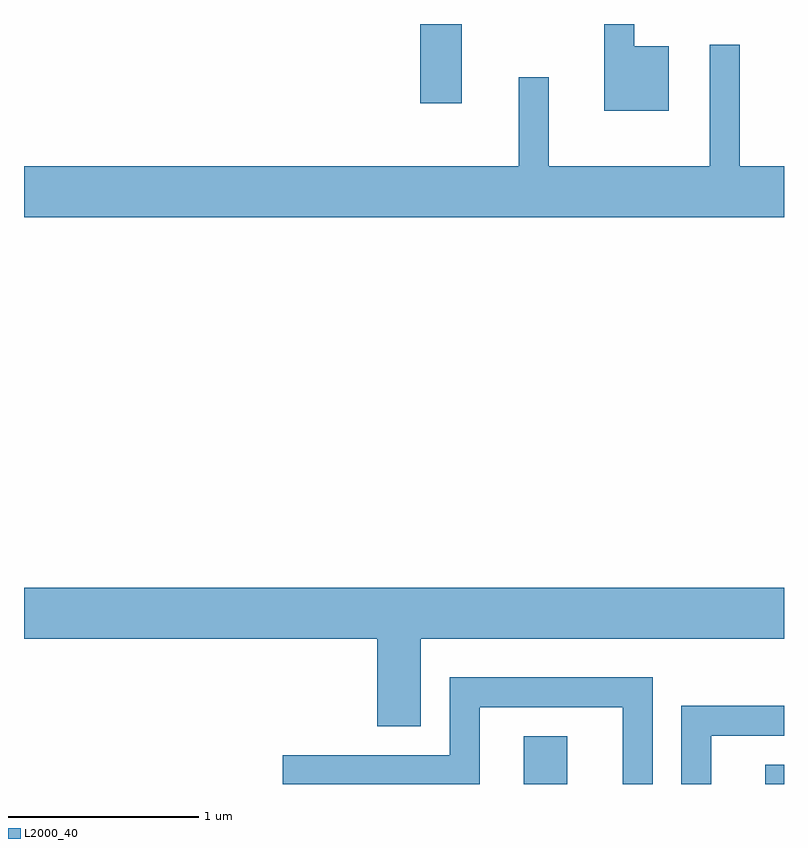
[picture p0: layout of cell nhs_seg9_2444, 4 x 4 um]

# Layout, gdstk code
import gdstk
lib = gdstk.Library(unit=1e-6, precision=1e-09)
def R(c, l, rs):  # rectangles x0, y0, x1, y1
    for r in rs: c.add(gdstk.rectangle(r[:2], r[2:], *l))
def P(c, l, *ps):  # polygons
    for p in ps: c.add(gdstk.Polygon(p, *l))
L2000_40 = (2000, 40)

nhs_seg9_2444 = lib.new_cell('nhs_seg9_2444')
R(nhs_seg9_2444, L2000_40, [(260.241,1944.432,260.469,1944.684), (261.511,1944.432,261.611,1944.534), (259.696,1948.016,259.914,1948.432)])
P(nhs_seg9_2444, L2000_40, [(261.004,1948.314),(260.824,1948.314),(260.824,1948.432),(260.666,1948.432),(260.666,1947.976),(261.004,1947.976)],
  [(261.611,1947.684),(261.379,1947.684),(261.379,1948.323),(261.221,1948.323),(261.221,1947.684),(260.374,1947.684),(260.374,1948.153),(260.216,1948.153),(260.216,1947.684),(257.611,1947.684),(257.611,1947.416),(261.611,1947.416)],
  [(259.699,1945.196),(261.611,1945.196),(261.611,1945.464),(257.611,1945.464),(257.611,1945.196),(259.471,1945.196),(259.471,1944.736),(259.699,1944.736)],
  [(260.009,1944.836),(260.761,1944.836),(260.761,1944.432),(260.919,1944.432),(260.919,1944.994),(259.851,1944.994),(259.851,1944.584),(258.973,1944.584),(258.973,1944.432),(260.009,1944.432)],
  [(261.229,1944.686),(261.611,1944.686),(261.611,1944.844),(261.071,1944.844),(261.071,1944.432),(261.229,1944.432)])

lib.write_gds('nhs_seg9_2444.gds')
